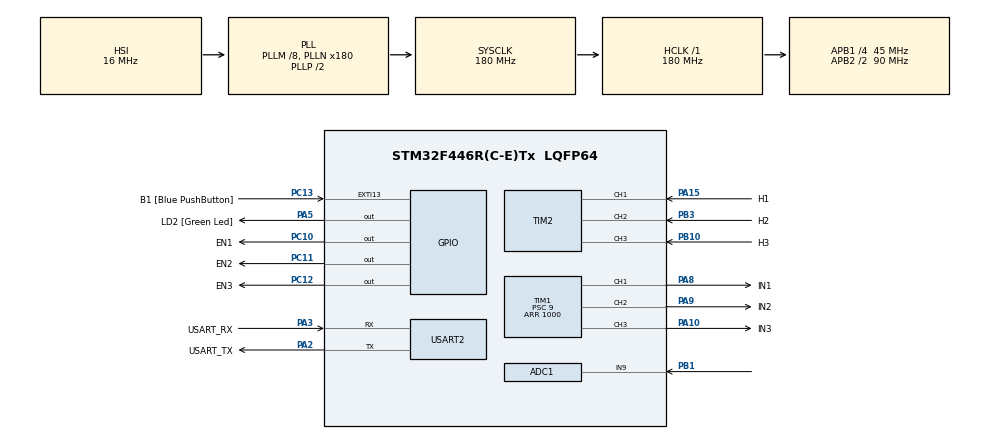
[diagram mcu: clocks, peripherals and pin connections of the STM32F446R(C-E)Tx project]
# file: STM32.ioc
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Mcu.Family=STM32F4
PH0-OSC_IN.Signal=RCC_OSC_IN
RCC.CortexFreq_Value=180000000
ADC1.ContinuousConvMode=ENABLE
PC12.Signal=GPIO_Output
PC10.Signal=GPIO_Output
PA14.GPIO_Label=TCK
PC13.GPIO_Label=B1 [Blue PushButton]
RCC.SYSCLKSource=RCC_SYSCLKSOURCE_PLLCLK
ProjectManager.StackSize=0x400
PA15.GPIO_Label=H1
TIM1.Prescaler=9
RCC.HCLKFreq_Value=180000000
RCC.APB2TimFreq_Value=180000000
RCC.AHBFreq_Value=180000000
PH0-OSC_IN.Mode=HSE-External-Oscillator
ADC1.Channel-0\#ChannelRegularConversion=ADC_CHANNEL_9
RCC.HSE_VALUE=8000000
PC14-OSC32_IN.Mode=LSE-External-Oscillator
TIM1.Channel-PWM\ Generation1\ CH1=TIM_CHANNEL_1
PA14.Mode=Serial_Wire
PC11.GPIO_Label=EN2
NVIC.TIM2_IRQn=true\:0\:0\:false\:false\:true\:true\:true
PA10.GPIO_Label=IN3
PA8.Signal=S_TIM1_CH1
ADC1.SamplingTime-0\#ChannelRegularConversion=ADC_SAMPLETIME_3CYCLES
RCC.FLatency-AdvancedSettings=FLASH_LATENCY_5
PH1-OSC_OUT.Mode=HSE-External-Oscillator
Mcu.Package=LQFP64
PB1.Signal=ADCx_IN9
USART2.VirtualMode=VM_ASYNC
PA2.GPIO_Label=USART_TX
PA10.Signal=S_TIM1_CH3
PA15.Signal=S_TIM2_CH1_ETR
SH.ADCx_IN9.0=ADC1_IN9,IN9
RCC.APB2CLKDivider=RCC_HCLK_DIV2
RCC.APB1TimFreq_Value=90000000
TIM1.Period=1000
ADC1.EOCSelection=ADC_EOC_SEQ_CONV
PA3.Signal=USART2_RX
PB3.GPIO_Label=H2
PC15-OSC32_OUT.Mode=LSE-External-Oscillator
ADC1.Rank-0\#ChannelRegularConversion=1
PC10.GPIO_Label=EN1
PC11.Signal=GPIO_Output
PA9.GPIO_Label=IN2
PC13.Signal=GPXTI13
RCC.APB1CLKDivider=RCC_HCLK_DIV4
PC14-OSC32_IN.Signal=RCC_OSC32_IN
PA3.Mode=Asynchronous
PA13.Signal=SYS_JTMS-SWDIO
SH.S_TIM2_CH2.0=TIM2_CH2,Xored_Inputs_Hall_Sensor_Interface
PA8.GPIO_Label=IN1
SH.S_TIM1_CH1.0=TIM1_CH1,PWM Generation1 CH1
ProjectManager.TargetToolchain=STM32CubeIDE
PB10.GPIO_Label=H3
PA9.Signal=S_TIM1_CH2
TIM1.Channel-PWM\ Generation2\ CH2=TIM_CHANNEL_2
RCC.USBFreq_Value=180000000
PC15-OSC32_OUT.Signal=RCC_OSC32_OUT
PB10.Signal=S_TIM2_CH3
PA5.Signal=GPIO_Output
board=NUCLEO-F446RE
RCC.VCOOutputFreq_Value=360000000
RCC.APB2Freq_Value=90000000
SH.S_TIM1_CH2.0=TIM1_CH2,PWM Generation2 CH2
VP_TIM2_VS_ClockSourceINT.Mode=Internal
SH.S_TIM2_CH3.0=TIM2_CH3,Xored_Inputs_Hall_Sensor_Interface
PH1-OSC_OUT.Signal=RCC_OSC_OUT
ADC1.NbrOfConversion=1
PA13.Mode=Serial_Wire
Mcu.Name=STM32F446R(C-E)Tx
PA2.Signal=USART2_TX
PA13.GPIO_Label=TMS
RCC.48MHZClocksFreq_Value=84000000
PB3.Signal=S_TIM2_CH2
RCC.SYSCLKFreq_VALUE=180000000
ADC1.master=1
PA5.GPIO_Label=LD2 [Green Led]
PC13.GPIO_ModeDefaultEXTI=GPIO_MODE_IT_FALLING
PC12.GPIO_Label=EN3
SH.S_TIM2_CH1_ETR.0=TIM2_CH1,Xored_Inputs_Hall_Sensor_Interface
PA14.Signal=SYS_JTCK-SWCLK
ProjectManager.HeapSize=0x200
SH.S_TIM1_CH3.0=TIM1_CH3,PWM Generation3 CH3
RCC.HSI_VALUE=16000000
NVIC.PriorityGroup=NVIC_PRIORITYGROUP_0
ADC1.NbrOfConversionFlag=1
RCC.PLLM=8
RCC.PLLN=180
PA2.Mode=Asynchronous
TIM1.Channel-PWM\ Generation3\ CH3=TIM_CHANNEL_3
RCC.APB1Freq_Value=45000000
PA3.GPIO_Label=USART_RX

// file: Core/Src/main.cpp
/* USER CODE BEGIN Header */
/**
  ******************************************************************************
  * @file           : main.c
  * @brief          : Main program body
  ******************************************************************************
  * @attention
  *
  * <h2><center>&copy; Copyright (c) 2021 STMicroelectronics.
  * All rights reserved.</center></h2>
  *
  * This software component is licensed by ST under BSD 3-Clause license,
  * the "License"; You may not use this file except in compliance with the
  * License. You may obtain a copy of the License at:
  *                        opensource.org/licenses/BSD-3-Clause
  *
  ******************************************************************************
  */
/* USER CODE END Header */
#include "main.h"
#include "tim.h"
#include "usart.h"
#include "adc.h"
#include "gpio.h"

/* USER CODE BEGIN PV */
uint16_t duty=0;
/* USER CODE END PV */

void SystemClock_Config(void);

int main(void)
{

  /* MCU Configuration--------------------------------------------------------*/

  /* Reset of all peripherals, Initializes the Flash interface and the Systick. */
  HAL_Init();

  /* Configure the system clock */
  SystemClock_Config();

  /* Initialize all configured peripherals */
  MX_GPIO_Init();
  MX_USART2_UART_Init();
  MX_TIM1_Init();
  MX_TIM2_Init();
  MX_ADC1_Init();
  /* USER CODE BEGIN 2 */
  uint8_t h1,h2,h3;
  uint8_t hall_state=0;
  if (HAL_TIM_PWM_Start(&htim1, TIM_CHANNEL_1) != HAL_OK) {
    Error_Handler();
  }
  if (HAL_TIM_PWM_Start(&htim1, TIM_CHANNEL_2) != HAL_OK) {
    Error_Handler();
  }
  if (HAL_TIM_PWM_Start(&htim1, TIM_CHANNEL_3) != HAL_OK) {
    Error_Handler();
  }
  if(HAL_ADC_Start(&hadc1) != HAL_OK){
    Error_Handler();
  }

  /* USER CODE END 2 */

  /* Infinite loop */
  /* USER CODE BEGIN WHILE */
  while (1)
  {
    if( HAL_ADC_PollForConversion(&hadc1, 1000) == HAL_OK )
    {
      duty = HAL_ADC_GetValue(&hadc1)*999/4095;
    }
    h1=HAL_GPIO_ReadPin(GPIOA,GPIO_PIN_15);
    h2=HAL_GPIO_ReadPin(GPIOB,GPIO_PIN_3);
    h3=HAL_GPIO_ReadPin(GPIOB,GPIO_PIN_10);
    hall_state = ((h1<<2)|(h2<<1)|h3);
    switch (hall_state) {
    case 1://U>W
      HAL_GPIO_WritePin(GPIOC,GPIO_PIN_10,GPIO_PIN_SET);
      HAL_GPIO_WritePin(GPIOC,GPIO_PIN_11,GPIO_PIN_RESET);
      HAL_GPIO_WritePin(GPIOC,GPIO_PIN_12,GPIO_PIN_SET);
      __HAL_TIM_SET_COMPARE(&htim1,TIM_CHANNEL_1,duty);
      __HAL_TIM_SET_COMPARE(&htim1,TIM_CHANNEL_2,0);
      __HAL_TIM_SET_COMPARE(&htim1,TIM_CHANNEL_3,0);
      break;
    case 2://V>U
      HAL_GPIO_WritePin(GPIOC,GPIO_PIN_10,GPIO_PIN_SET);
      HAL_GPIO_WritePin(GPIOC,GPIO_PIN_11,GPIO_PIN_SET);
      HAL_GPIO_WritePin(GPIOC,GPIO_PIN_12,GPIO_PIN_RESET);
      __HAL_TIM_SET_COMPARE(&htim1,TIM_CHANNEL_1,0);
      __HAL_TIM_SET_COMPARE(&htim1,TIM_CHANNEL_2,duty);
      __HAL_TIM_SET_COMPARE(&htim1,TIM_CHANNEL_3,0);
      break;
    case 3://V>W
      HAL_GPIO_WritePin(GPIOC,GPIO_PIN_10,GPIO_PIN_RESET);
      HAL_GPIO_WritePin(GPIOC,GPIO_PIN_11,GPIO_PIN_SET);
      HAL_GPIO_WritePin(GPIOC,GPIO_PIN_12,GPIO_PIN_SET);
      __HAL_TIM_SET_COMPARE(&htim1,TIM_CHANNEL_1,0);
      __HAL_TIM_SET_COMPARE(&htim1,TIM_CHANNEL_2,duty);
      __HAL_TIM_SET_COMPARE(&htim1,TIM_CHANNEL_3,0);
      break;
    case 4:
      HAL_GPIO_WritePin(GPIOC,GPIO_PIN_10,GPIO_PIN_RESET);
      HAL_GPIO_WritePin(GPIOC,GPIO_PIN_11,GPIO_PIN_SET);
      HAL_GPIO_WritePin(GPIOC,GPIO_PIN_12,GPIO_PIN_SET);
      __HAL_TIM_SET_COMPARE(&htim1,TIM_CHANNEL_1,0);
      __HAL_TIM_SET_COMPARE(&htim1,TIM_CHANNEL_2,0);
      __HAL_TIM_SET_COMPARE(&htim1,TIM_CHANNEL_3,duty);
      break;
    case 5:
      HAL_GPIO_WritePin(GPIOC,GPIO_PIN_10,GPIO_PIN_SET);
      HAL_GPIO_WritePin(GPIOC,GPIO_PIN_11,GPIO_PIN_SET);
      HAL_GPIO_WritePin(GPIOC,GPIO_PIN_12,GPIO_PIN_RESET);
      __HAL_TIM_SET_COMPARE(&htim1,TIM_CHANNEL_1,duty);
      __HAL_TIM_SET_COMPARE(&htim1,TIM_CHANNEL_2,0);
      __HAL_TIM_SET_COMPARE(&htim1,TIM_CHANNEL_3,0);
      break;
    case 6:
      HAL_GPIO_WritePin(GPIOC,GPIO_PIN_10,GPIO_PIN_SET);
      HAL_GPIO_WritePin(GPIOC,GPIO_PIN_11,GPIO_PIN_RESET);
      HAL_GPIO_WritePin(GPIOC,GPIO_PIN_12,GPIO_PIN_SET);
      __HAL_TIM_SET_COMPARE(&htim1,TIM_CHANNEL_1,0);
      __HAL_TIM_SET_COMPARE(&htim1,TIM_CHANNEL_2,0);
      __HAL_TIM_SET_COMPARE(&htim1,TIM_CHANNEL_3,duty);
      break;
    }
    /* USER CODE END WHILE */

  }
}

void SystemClock_Config(void)
{
  RCC_OscInitTypeDef RCC_OscInitStruct = {0};
  RCC_ClkInitTypeDef RCC_ClkInitStruct = {0};

  /** Configure the main internal regulator output voltage
  */
  __HAL_RCC_PWR_CLK_ENABLE();
  __HAL_PWR_VOLTAGESCALING_CONFIG(PWR_REGULATOR_VOLTAGE_SCALE1);
  /** Initializes the RCC Oscillators according to the specified parameters
  * in the RCC_OscInitTypeDef structure.
  */
  RCC_OscInitStruct.OscillatorType = RCC_OSCILLATORTYPE_HSI;
  RCC_OscInitStruct.HSIState = RCC_HSI_ON;
  RCC_OscInitStruct.HSICalibrationValue = RCC_HSICALIBRATION_DEFAULT;
  RCC_OscInitStruct.PLL.PLLState = RCC_PLL_ON;
  RCC_OscInitStruct.PLL.PLLSource = RCC_PLLSOURCE_HSI;
  RCC_OscInitStruct.PLL.PLLM = 8;
  RCC_OscInitStruct.PLL.PLLN = 180;
  RCC_OscInitStruct.PLL.PLLP = RCC_PLLP_DIV2;
  RCC_OscInitStruct.PLL.PLLQ = 2;
  RCC_OscInitStruct.PLL.PLLR = 2;
  if (HAL_RCC_OscConfig(&RCC_OscInitStruct) != HAL_OK)
  {
    Error_Handler();
  }
  /** Activate the Over-Drive mode
  */
  if (HAL_PWREx_EnableOverDrive() != HAL_OK)
  {
    Error_Handler();
  }
  /** Initializes the CPU, AHB and APB buses clocks
  */
  RCC_ClkInitStruct.ClockType = RCC_CLOCKTYPE_HCLK|RCC_CLOCKTYPE_SYSCLK
                              |RCC_CLOCKTYPE_PCLK1|RCC_CLOCKTYPE_PCLK2;
  RCC_ClkInitStruct.SYSCLKSource = RCC_SYSCLKSOURCE_PLLCLK;
  RCC_ClkInitStruct.AHBCLKDivider = RCC_SYSCLK_DIV1;
  RCC_ClkInitStruct.APB1CLKDivider = RCC_HCLK_DIV4;
  RCC_ClkInitStruct.APB2CLKDivider = RCC_HCLK_DIV2;

  if (HAL_RCC_ClockConfig(&RCC_ClkInitStruct, FLASH_LATENCY_5) != HAL_OK)
  {
    Error_Handler();
  }
}

void Error_Handler(void)
{
  __disable_irq();
  while (1)
  {
  }
}

/************************ (C) COPYRIGHT STMicroelectronics *****END OF FILE****/
